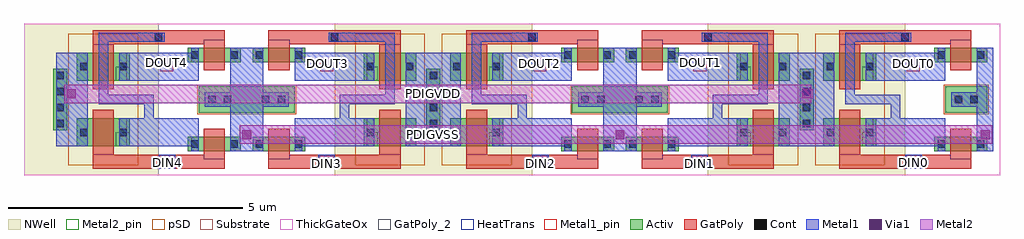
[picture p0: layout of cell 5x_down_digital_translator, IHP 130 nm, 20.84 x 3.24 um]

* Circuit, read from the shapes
.subckt 5x_down_digital_translator DIN0 DIN1 DIN2 DIN3 DIN4 DOUT0 DOUT1 DOUT2 DOUT3 DOUT4 PDIGVDD PDIGVSS
XM1 PDIGVSS DIN4 n1 PDIGVSS sg13_hv_nmos w=0.3u l=0.45u
XM2 PDIGVSS n1 DOUT4 PDIGVSS sg13_hv_nmos w=0.3u l=0.45u
XM3 n2 DIN3 PDIGVSS PDIGVSS sg13_hv_nmos w=0.3u l=0.45u
XM4 DOUT3 n2 PDIGVSS PDIGVSS sg13_hv_nmos w=0.3u l=0.45u
XM5 PDIGVSS DIN2 n3 PDIGVSS sg13_hv_nmos w=0.3u l=0.45u
XM6 PDIGVSS n3 DOUT2 PDIGVSS sg13_hv_nmos w=0.3u l=0.45u
XM7 n4 DIN1 PDIGVSS PDIGVSS sg13_hv_nmos w=0.3u l=0.45u
XM8 DOUT1 n4 PDIGVSS PDIGVSS sg13_hv_nmos w=0.3u l=0.45u
XM9 PDIGVSS DIN0 n5 PDIGVSS sg13_hv_nmos w=0.3u l=0.45u
XM10 PDIGVSS n5 DOUT0 PDIGVSS sg13_hv_nmos w=0.3u l=0.45u
XM11 n1 DIN4 PDIGVDD PDIGVDD sg13_hv_pmos w=0.6u l=0.45u
XM12 DOUT4 n1 PDIGVDD PDIGVDD sg13_hv_pmos w=0.6u l=0.45u
XM13 PDIGVDD DIN3 n2 PDIGVDD sg13_hv_pmos w=0.6u l=0.45u
XM14 PDIGVDD n2 DOUT3 PDIGVDD sg13_hv_pmos w=0.6u l=0.45u
XM15 n3 DIN2 PDIGVDD PDIGVDD sg13_hv_pmos w=0.6u l=0.45u
XM16 DOUT2 n3 PDIGVDD PDIGVDD sg13_hv_pmos w=0.6u l=0.45u
XM17 PDIGVDD DIN1 n4 PDIGVDD sg13_hv_pmos w=0.6u l=0.45u
XM18 PDIGVDD n4 DOUT1 PDIGVDD sg13_hv_pmos w=0.6u l=0.45u
XM19 n5 DIN0 PDIGVDD PDIGVDD sg13_hv_pmos w=0.6u l=0.45u
XM20 DOUT0 n5 PDIGVDD PDIGVDD sg13_hv_pmos w=0.6u l=0.45u
.ends

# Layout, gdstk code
from math import pi, radians
import gdstk
lib = gdstk.Library(unit=1e-6, precision=5e-09)
def R(c, l, rs):  # rectangles x0, y0, x1, y1
    for r in rs: c.add(gdstk.rectangle(r[:2], r[2:], *l))
def A(c, l, x, y, w, h, nx, ny, dx, dy):  # array of equal rectangles
    R(c, l, [(x+i*dx, y+j*dy, x+i*dx+w, y+j*dy+h) for i in range(nx) for j in range(ny)])
Activ = (1, 0)
GatPoly = (5, 0)
GatPoly_2 = (5, 2)
Cont = (6, 0)
Metal1 = (8, 0)
Metal1_pin = (8, 2)
Metal2 = (10, 0)
Metal2_pin = (10, 2)
pSD = (14, 0)
Via1 = (19, 0)
NWell = (31, 0)
Substrate = (40, 0)
ThickGateOx = (44, 0)
HeatTrans = (51, 0)

pmoshv_1 = lib.new_cell('pmosHV$1')
R(pmoshv_1, Activ, [(0,0,0.3,0.3), (0,0,1.13,0.6), (0.83,0,1.13,0.3)])
R(pmoshv_1, GatPoly, [(0.34,-0.18,0.79,0.78)])
R(pmoshv_1, GatPoly_2, [(0.34,-0.18,0.79,0.78)])
R(pmoshv_1, Cont, [(0.07,0.22,0.23,0.38), (0.9,0.22,1.06,0.38)])
R(pmoshv_1, Metal1, [(0.07,0,0.23,0.6), (0.9,0,1.06,0.6)])
R(pmoshv_1, Metal1_pin, [(0.07,0,0.23,0.6), (0.9,0,1.06,0.6)])
R(pmoshv_1, pSD, [(-0.18,-0.4,1.31,1)])
R(pmoshv_1, NWell, [(-0.62,-0.62,1.75,1.22)])
R(pmoshv_1, Substrate, [(0.83,0,1.13,0.3)])
R(pmoshv_1, ThickGateOx, [(-0.62,-0.62,1.75,1.22)])
R(pmoshv_1, HeatTrans, [(0.34,-0.18,0.79,0.78)])
pmoshv_1.add(gdstk.Label('pmosHV', (0.565,0.3), layer=63, texttype=0))
pmoshv_1.add(gdstk.Label('pmos', (0.565,0.3), layer=51, texttype=0))

via_stack = lib.new_cell('via_stack')
R(via_stack, Activ, [(-0.66,-0.15,0.66,0.15)])
A(via_stack, Cont, -0.59, -0.08, 0.16, 0.16, 4, 1, 0.34, 0)
R(via_stack, Metal1, [(-0.64,-0.08,0.64,0.08)])

via_stack_2 = lib.new_cell('via_stack$2')
R(via_stack_2, Activ, [(-0.32,-0.15,0.32,0.15)])
R(via_stack_2, Cont, [(-0.25,-0.08,-0.09,0.08), (0.09,-0.08,0.25,0.08)])
R(via_stack_2, Metal1, [(-0.3,-0.08,0.3,0.08)])

nmoshv_1 = lib.new_cell('nmosHV$1')
R(nmoshv_1, Activ, [(0,0,0.3,0.3), (0,0,1.13,0.3), (0.83,0,1.13,0.3)])
R(nmoshv_1, GatPoly, [(0.34,-0.18,0.79,0.48)])
R(nmoshv_1, GatPoly_2, [(0.34,-0.18,0.79,0.48)])
R(nmoshv_1, Cont, [(0.07,0.07,0.23,0.23), (0.9,0.07,1.06,0.23)])
R(nmoshv_1, Metal1, [(0.07,0,0.23,0.3), (0.9,0,1.06,0.3)])
R(nmoshv_1, Metal1_pin, [(0.07,0,0.23,0.3), (0.9,0,1.06,0.3)])
R(nmoshv_1, ThickGateOx, [(-0.27,-0.52,1.4,0.82)])
R(nmoshv_1, HeatTrans, [(0.34,-0.18,0.79,0.48)])
nmoshv_1.add(gdstk.Label('nmosHV', (0.565,0.15), layer=63, texttype=0))
nmoshv_1.add(gdstk.Label('nmosHV', (0.565,0.15), layer=51, texttype=0))

via_stack_4 = lib.new_cell('via_stack$4')
R(via_stack_4, GatPoly, [(-0.15,-0.15,0.15,0.15)])
R(via_stack_4, Cont, [(-0.08,-0.08,0.08,0.08)])
R(via_stack_4, Metal1, [(-0.13,-0.08,0.13,0.08)])

down_digital_translator = lib.new_cell('down_digital_translator')
R(down_digital_translator, Activ, [(1.34,0.27,1.9,1.17)])
R(down_digital_translator, GatPoly, [(0.14,0.61,0.44,3.43), (2.8,0.61,3.1,3.43)])
R(down_digital_translator, Metal1, [(0.52,0.145,2.72,0.5), (1.47,0.5,1.77,1.04), (0.62,1.17,1.22,2.71), (2.02,1.17,2.62,2.71), (0.14,1.67,0.44,2.02), (0.62,3.54,2.62,4.21)])
R(down_digital_translator, Metal1_pin, [(0.52,0.145,2.72,0.5), (0.15,1.68,0.43,2.01), (2.22,1.715,2.49,1.995), (0.62,3.54,2.62,4.21)])
R(down_digital_translator, pSD, [(1.31,0.24,1.93,1.2)])
R(down_digital_translator, NWell, [(0,4.39,3.24,4.9)])
R(down_digital_translator, ThickGateOx, [(1.34,0,1.9,1.67), (0,1.67,3.24,2.02), (0,4.39,3.24,4.9)])
down_digital_translator.add(gdstk.FlexPath([(1.22,2.23),(1.62,2.23),(1.62,3.205),(2.95,3.205),(2.95,1.895),(2.95,1.895)], 0.2, ends="flush", simple_path=True, layer=8, datatype=0))  # Metal1
down_digital_translator.add(gdstk.Reference(pmoshv_1, (2.02,3.77), rotation=3*pi/2))
down_digital_translator.add(gdstk.Reference(pmoshv_1, (0.62,3.77), rotation=3*pi/2))
down_digital_translator.add(gdstk.Reference(via_stack, (1.62,4.13)))
down_digital_translator.add(gdstk.Reference(via_stack_2, (1.62,0.72), rotation=pi/2))
down_digital_translator.add(gdstk.Reference(nmoshv_1, (2.42,1.4), rotation=3*pi/2))
down_digital_translator.add(gdstk.Reference(nmoshv_1, (0.52,1.4), rotation=3*pi/2))
down_digital_translator.add(gdstk.Reference(via_stack_4, (2.95,2.025), rotation=pi/2))
down_digital_translator.add(gdstk.Reference(via_stack_4, (0.29,1.845)))
down_digital_translator.add(gdstk.Label('DOUT', (2.355,1.855), layer=8, texttype=2))
down_digital_translator.add(gdstk.Label('PDIGVDD', (1.615,3.89), layer=8, texttype=25))
down_digital_translator.add(gdstk.Label('DIN', (0.29,1.845), layer=8, texttype=25))
down_digital_translator.add(gdstk.Label('PDIGVSS', (1.62,0.32), layer=8, texttype=25))

via_stack_8 = lib.new_cell('via_stack$8')
R(via_stack_8, Metal1, [(-0.145,-0.105,0.145,0.105)])
R(via_stack_8, Metal2, [(-0.145,-0.1,0.145,0.1)])
R(via_stack_8, Via1, [(-0.095,-0.095,0.095,0.095)])

c_5x_down_digital_translat = lib.new_cell('5x_down_digital_translator')
R(c_5x_down_digital_translat, Activ, [(4.63,1.34,4.88,1.9), (12.6,1.34,12.85,1.9)])
R(c_5x_down_digital_translat, Metal2_pin, [(4.61,0.67,20.67,1.07), (0.86,1.54,16.805,1.94)])
R(c_5x_down_digital_translat, pSD, [(4.66,1.31,4.85,1.93), (12.63,1.31,12.82,1.93)])
c_5x_down_digital_translat.add(gdstk.FlexPath([(0.86,1.74),(16.805,1.74)], 0.4, ends="flush", simple_path=True, layer=10, datatype=0))  # Metal2
c_5x_down_digital_translat.add(gdstk.FlexPath([(20.67,0.87),(4.61,0.87)], 0.4, ends="flush", simple_path=True, layer=10, datatype=0))  # Metal2
c_5x_down_digital_translat.add(gdstk.Reference(down_digital_translator, (4.9,0), rotation=pi/2))
c_5x_down_digital_translat.add(gdstk.Reference(down_digital_translator, (4.61,0), rotation=pi/2, x_reflection=True))
c_5x_down_digital_translat.add(gdstk.Reference(down_digital_translator, (12.87,0), rotation=pi/2))
c_5x_down_digital_translat.add(gdstk.Reference(down_digital_translator, (12.58,0), rotation=pi/2, x_reflection=True))
c_5x_down_digital_translat.add(gdstk.Reference(down_digital_translator, (20.84,0), rotation=pi/2))
c_5x_down_digital_translat.add(gdstk.Reference(via_stack_8, (4.755,0.87)))
c_5x_down_digital_translat.add(gdstk.Reference(via_stack_8, (12.725,0.87)))
c_5x_down_digital_translat.add(gdstk.Reference(via_stack_8, (20.525,0.87)))
c_5x_down_digital_translat.add(gdstk.Reference(via_stack_8, (8.74,1.74)))
c_5x_down_digital_translat.add(gdstk.Reference(via_stack_8, (16.71,1.74)))
c_5x_down_digital_translat.add(gdstk.Reference(via_stack_8, (1.005,1.74)))
c_5x_down_digital_translat.add(gdstk.Label('DIN0', (18.995,0.265), layer=8, texttype=0))
c_5x_down_digital_translat.add(gdstk.Label('DIN1', (14.425,0.26), layer=8, texttype=25))
c_5x_down_digital_translat.add(gdstk.Label('DIN2', (11.025,0.255), layer=8, texttype=25))
c_5x_down_digital_translat.add(gdstk.Label('DIN3', (6.46,0.26), layer=8, texttype=25))
c_5x_down_digital_translat.add(gdstk.Label('DIN4', (3.055,0.27), layer=8, texttype=25))
c_5x_down_digital_translat.add(gdstk.Label('DOUT0', (18.99,2.39), layer=8, texttype=25))
c_5x_down_digital_translat.add(gdstk.Label('DOUT1', (14.435,2.405), layer=8, texttype=25))
c_5x_down_digital_translat.add(gdstk.Label('DOUT2', (11.01,2.39), layer=8, texttype=25))
c_5x_down_digital_translat.add(gdstk.Label('DOUT3', (6.47,2.39), layer=8, texttype=25))
c_5x_down_digital_translat.add(gdstk.Label('DOUT4', (3.045,2.4), layer=8, texttype=25))
c_5x_down_digital_translat.add(gdstk.Label('PDIGVDD', (8.74,1.74), layer=10, texttype=25))
c_5x_down_digital_translat.add(gdstk.Label('PDIGVSS', (8.74,0.87), layer=10, texttype=25))

lib.write_gds('5x_down_digital_translator.gds')
